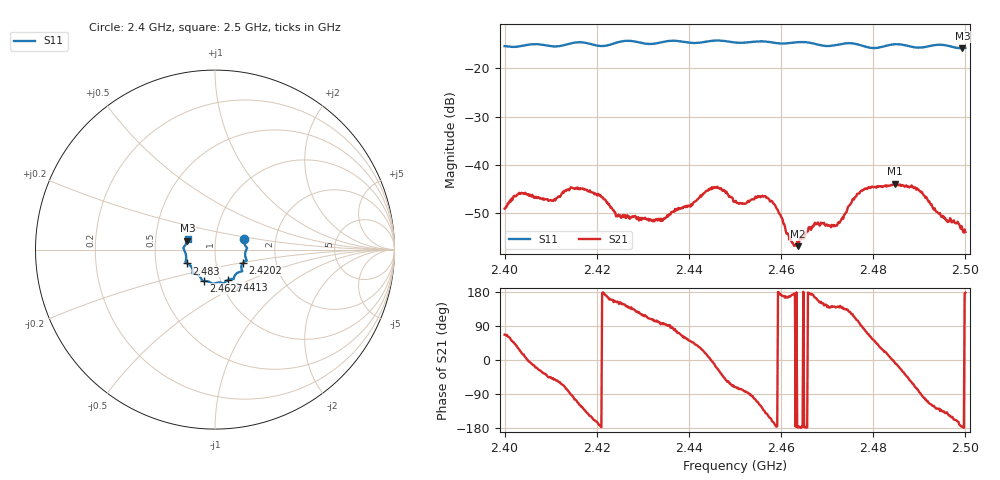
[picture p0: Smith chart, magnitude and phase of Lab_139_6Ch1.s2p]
# Hz S RI R 50
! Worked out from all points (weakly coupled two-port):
!   601 points, 2.4 GHz to 2.5 GHz, reference 50 ohm
!   highest |S21| = -43.90 dB at 2.4847 GHz (marker M1); lowest = -56.8 dB at 2.4637 GHz (marker M2)
!   lowest |S11| = -15.8 dB at 2.4993 GHz (marker M3), VSWR 1.39, Z = 36.5 + j3.71 ohm
!   |S11| at or under -10 dB: start of sweep to end of sweep
!   S12 and S22 are empty: the file has one direction only
!   S11 on the Smith chart (normalised r, x): 2.4 GHz: 1.37, +0.16; 2.4202 GHz: 1.35, -0.20; 2.4413 GHz: 1.09, -0.38; 2.4627 GHz: 0.83, -0.30; 2.483 GHz: 0.72, -0.11; 2.5 GHz: 0.73, +0.09
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2.4e9  0.1607 0.0571  0.00139 0.00325  0 0  0 0
2.403333e9  0.1685 0.0227  0.00456 0.00205  0 0  0 0
2.41e9  0.1702 -0.0102  0.00307 -0.00308  0 0  0 0
2.416667e9  0.1764 -0.0615  -0.00319 -0.00472  0 0  0 0
2.420167e9  0.1562 -0.0728  -0.00468 -0.00122  0 0  0 0
2.424667e9  0.1496 -0.1129  -0.00271 0.00142  0 0  0 0
2.433333e9  0.1081 -0.1485  -0.00056 0.00271  0 0  0 0
2.441333e9  0.0743 -0.1682  0.00315 0.00275  0 0  0 0
2.445833e9  0.05 -0.1885  0.0056 -0.00185  0 0  0 0
2.45e9  0.0294 -0.1835  0.00134 -0.00396  0 0  0 0
2.456833e9  -0.0158 -0.189  -0.00356 -0.00283  0 0  0 0
2.462667e9  -0.0619 -0.1747  -0.0015 0.000174  0 0  0 0
2.463667e9  -0.0674 -0.1749  -0.00144 -3.85e-05  0 0  0 0
2.466667e9  -0.0742 -0.1675  -0.00222 0.000232  0 0  0 0
2.471833e9  -0.1097 -0.1357  -0.00175 0.00155  0 0  0 0
2.477667e9  -0.124 -0.1192  0.000342 0.0055  0 0  0 0
2.483e9  -0.155 -0.0769  0.0059 0.00169  0 0  0 0
2.483333e9  -0.1571 -0.076  0.00598 0.00116  0 0  0 0
2.484667e9  -0.163 -0.0727  0.00634 -0.000741  0 0  0 0
2.49e9  -0.162 -0.0287  0.00046 -0.00538  0 0  0 0
2.499333e9  -0.1542 0.0495  -0.00218 -0.000151  0 0  0 0
2.5e9  -0.1525 0.0585  -0.00202 8.93e-05  0 0  0 0
